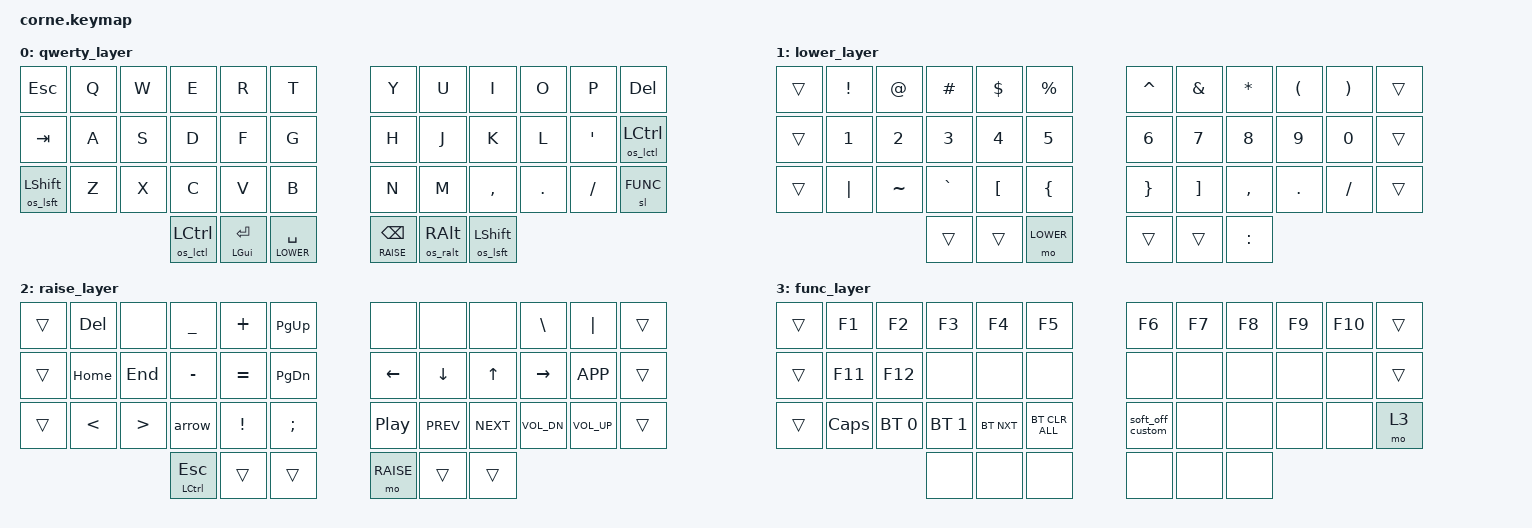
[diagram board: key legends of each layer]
/*
 * Copyright (c) 2020 The ZMK Contributors
 *
 * SPDX-License-Identifier: MIT
 */

#include <behaviors.dtsi>
#include <dt-bindings/zmk/bt.h>
#include <dt-bindings/zmk/keys.h>

#define QWERTY 0
#define LOWER  1
#define RAISE  2
#define FUNC   3

/ {
    behaviors {
        // ============================================================
        // One-shot modifiers
        // ============================================================

        os_lctl: os_lctl {
            compatible = "zmk,behavior-sticky-key";
            #binding-cells = <1>;
            bindings = <&kp>;
            release-after-ms = <1000>;
        };

        os_lalt: os_lalt {
            compatible = "zmk,behavior-sticky-key";
            #binding-cells = <1>;
            bindings = <&kp>;
            release-after-ms = <1000>;
        };

        os_lsft: os_lsft {
            compatible = "zmk,behavior-sticky-key";
            #binding-cells = <1>;
            bindings = <&kp>;
            release-after-ms = <1000>;
        };

        os_ralt: os_ralt {
            compatible = "zmk,behavior-sticky-key";
            #binding-cells = <1>;
            bindings = <&kp>;
            release-after-ms = <1000>;
        };

        // ============================================================
        // Thumb layer-taps
        // ============================================================

        lower_space: lower_space {
            compatible = "zmk,behavior-hold-tap";
            #binding-cells = <2>;
            tapping-term-ms = <260>;
            flavor = "balanced";
            bindings = <&mo>, <&kp>;
        };

        raise_backspace: raise_backspace {
            compatible = "zmk,behavior-hold-tap";
            #binding-cells = <2>;
            tapping-term-ms = <280>;
            flavor = "balanced";
            bindings = <&mo>, <&kp>;
        };

        soft_off_custom: soft_off_custom {
            compatible = "zmk,behavior-soft-off";
            label = "SOFT_OFF_CUSTOM";
            #binding-cells = <0>;
            hold-time-ms = <2000>;
        };

        // ============================================================
        // Soft off
        // ============================================================
    };

    // ================================================================
    // Keymap
    // ================================================================

    macros {
        arrow: arrow {
            compatible = "zmk,behavior-macro";
            #binding-cells = <0>;
            bindings = <&kp MINUS &kp GT>;
            label = "ARROW";
        };
    };

    keymap {
        compatible = "zmk,keymap";

        // ============================================================
        // QWERTY
        // ============================================================

        qwerty_layer {
            bindings = <
&kp ESCAPE       &kp Q  &kp W  &kp E           &kp R           &kp T                       &kp Y                        &kp U          &kp I            &kp O    &kp P      &kp DEL
&kp TAB          &kp A  &kp S  &kp D           &kp F           &kp G                       &kp H                        &kp J          &kp K            &kp L    &kp SQT    &os_lctl LCTRL
&os_lsft LSHIFT  &kp Z  &kp X  &kp C           &kp V           &kp B                       &kp N                        &kp M          &kp COMMA        &kp DOT  &kp SLASH  &sl FUNC
                               &os_lctl LCTRL  &mt LGUI ENTER  &lower_space LOWER SPACE    &raise_backspace RAISE BSPC  &os_ralt RALT  &os_lsft LSHIFT
            >;
        };

        // ============================================================
        // LOWER
        // ============================================================

        lower_layer {
            bindings = <
&trans  &kp EXCL  &kp AT     &kp HASH   &kp DLLR  &kp PERCENT    &kp CARET  &kp AMPERSAND  &kp ASTERISK  &kp LPAR  &kp RPAR   &trans
&trans  &kp N1    &kp N2     &kp N3     &kp N4    &kp N5         &kp N6     &kp N7         &kp N8        &kp N9    &kp N0     &trans
&trans  &kp PIPE  &kp TILDE  &kp GRAVE  &kp LBKT  &kp LBRC       &kp RBRC   &kp RBKT       &kp COMMA     &kp DOT   &kp SLASH  &trans
                             &trans     &trans    &mo LOWER      &trans     &trans         &kp COLON
            >;
        };

        // ============================================================
        // RAISE
        // ============================================================

        raise_layer {
            bindings = <
&trans  &kp DEL   &none    &kp UNDERSCORE  &kp PLUS         &kp PG_UP        &none             &none       &none       &kp BACKSLASH  &kp PIPE      &trans
&trans  &kp HOME  &kp END  &kp MINUS       &kp EQUAL        &kp PG_DN        &kp LEFT          &kp DOWN    &kp UP      &kp RIGHT      &kp K_APP     &trans
&trans  &kp LT    &kp GT   &arrow          &kp EXCLAMATION  &kp SEMICOLON    &kp C_PLAY_PAUSE  &kp C_PREV  &kp C_NEXT  &kp C_VOL_DN   &kp C_VOL_UP  &trans
                           &mt LCTRL ESC   &trans           &trans           &mo RAISE         &trans      &trans
            >;
        };

        // ============================================================
        // FUNCTION
        // ============================================================

        func_layer {
            bindings = <
&trans  &kp F1    &kp F2        &kp F3        &kp F4      &kp F5            &kp F6            &kp F7  &kp F8  &kp F9  &kp F10  &trans
&trans  &kp F11   &kp F12       &none         &none       &none             &none             &none   &none   &none   &none    &trans
&trans  &kp CAPS  &bt BT_SEL 0  &bt BT_SEL 1  &bt BT_NXT  &bt BT_CLR_ALL    &soft_off_custom  &none   &none   &none   &none    &mo 3
                                &none         &none       &none             &none             &none   &none
            >;
        };
    };
};
